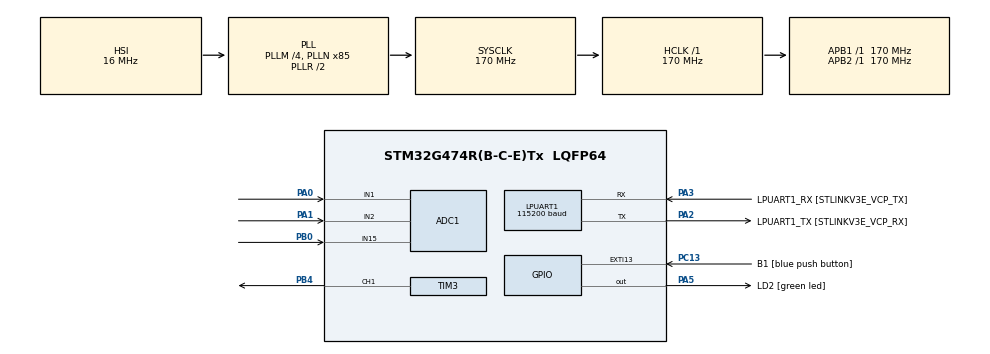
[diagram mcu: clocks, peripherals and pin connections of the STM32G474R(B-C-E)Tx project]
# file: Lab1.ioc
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ADC1.Channel-0\#ChannelRegularConversion=ADC_CHANNEL_1
ADC1.Channel-1\#ChannelRegularConversion=ADC_CHANNEL_2
ADC1.Channel-2\#ChannelRegularConversion=ADC_CHANNEL_15
ADC1.ContinuousConvMode=ENABLE
ADC1.DMAContinuousRequests=ENABLE
ADC1.ExternalTrigConv=ADC_EXTERNALTRIG_T1_TRGO
ADC1.NbrOfConversion=3
ADC1.NbrOfConversionFlag=1
ADC1.OffsetNumber-0\#ChannelRegularConversion=ADC_OFFSET_NONE
ADC1.OffsetNumber-1\#ChannelRegularConversion=ADC_OFFSET_NONE
ADC1.OffsetNumber-2\#ChannelRegularConversion=ADC_OFFSET_NONE
ADC1.Rank-0\#ChannelRegularConversion=1
ADC1.Rank-1\#ChannelRegularConversion=2
ADC1.Rank-2\#ChannelRegularConversion=3
ADC1.SamplingTime-0\#ChannelRegularConversion=ADC_SAMPLETIME_640CYCLES_5
ADC1.SamplingTime-1\#ChannelRegularConversion=ADC_SAMPLETIME_640CYCLES_5
ADC1.SamplingTime-2\#ChannelRegularConversion=ADC_SAMPLETIME_640CYCLES_5
ADC1.master=1
Dma.ADC1.0.Direction=DMA_PERIPH_TO_MEMORY
Dma.ADC1.0.EventEnable=DISABLE
Dma.ADC1.0.Instance=DMA1_Channel1
Dma.ADC1.0.MemDataAlignment=DMA_MDATAALIGN_HALFWORD
Dma.ADC1.0.MemInc=DMA_MINC_ENABLE
Dma.ADC1.0.Mode=DMA_CIRCULAR
Dma.ADC1.0.PeriphDataAlignment=DMA_PDATAALIGN_HALFWORD
Dma.ADC1.0.PeriphInc=DMA_PINC_DISABLE
Dma.ADC1.0.Polarity=HAL_DMAMUX_REQ_GEN_RISING
Dma.ADC1.0.Priority=DMA_PRIORITY_LOW
Dma.ADC1.0.RequestNumber=1
Dma.ADC1.0.SignalID=NONE
Dma.ADC1.0.SyncEnable=DISABLE
Dma.ADC1.0.SyncPolarity=HAL_DMAMUX_SYNC_NO_EVENT
Dma.ADC1.0.SyncRequestNumber=1
Dma.ADC1.0.SyncSignalID=NONE
Dma.Request0=ADC1
LPUART1.BaudRate=115200
LPUART1.WordLength=UART_WORDLENGTH_8B
Mcu.Family=STM32G4
Mcu.Name=STM32G474R(B-C-E)Tx
Mcu.Package=LQFP64
NVIC.ADC1_2_IRQn=true\:0\:0\:false\:false\:true\:true\:true\:true
NVIC.DMA1_Channel1_IRQn=true\:0\:0\:false\:false\:true\:false\:true\:true
NVIC.EXTI15_10_IRQn=true\:0\:0\:false\:false\:true\:true\:true\:true
NVIC.PriorityGroup=NVIC_PRIORITYGROUP_4
NVIC.TIM2_IRQn=true\:0\:0\:false\:false\:true\:true\:true\:true
PA0.Mode=IN1-Single-Ended
PA0.Signal=ADC1_IN1
PA1.Mode=IN2-Single-Ended
PA1.Signal=ADC1_IN2
PA13.GPIO_Label=T_SWDIO
PA13.Mode=Serial_Wire
PA13.Signal=SYS_JTMS-SWDIO
PA14.GPIO_Label=T_SWCLK
PA14.Mode=Serial_Wire
PA14.Signal=SYS_JTCK-SWCLK
PA2.GPIO_Label=LPUART1_TX [STLINKV3E_VCP_RX]
PA2.Mode=Asynchronous
PA2.Signal=LPUART1_TX
PA3.GPIO_Label=LPUART1_RX [STLINKV3E_VCP_TX]
PA3.Mode=Asynchronous
PA3.Signal=LPUART1_RX
PA5.GPIO_Label=LD2 [green led]
PA5.Signal=GPIO_Output
PB0.Mode=IN15-Single-Ended
PB0.Signal=ADC1_IN15
PB3.GPIO_Label=T_SWO
PB3.Signal=SYS_JTDO-SWO
PB4.Signal=S_TIM3_CH1
PC13.GPIO_Label=B1 [blue push button]
PC13.Signal=GPXTI13
PC14-OSC32_IN.Mode=LSE-External-Oscillator
PC14-OSC32_IN.Signal=RCC_OSC32_IN
PC15-OSC32_OUT.Mode=LSE-External-Oscillator
PC15-OSC32_OUT.Signal=RCC_OSC32_OUT
PF0-OSC_IN.Mode=HSE-External-Oscillator
PF0-OSC_IN.Signal=RCC_OSC_IN
PF1-OSC_OUT.Mode=HSE-External-Oscillator
PF1-OSC_OUT.Signal=RCC_OSC_OUT
ProjectManager.HeapSize=0x200
ProjectManager.StackSize=0x400
ProjectManager.TargetToolchain=STM32CubeIDE
RCC.ADC12Freq_Value=170000000
RCC.ADC345Freq_Value=170000000
RCC.AHBFreq_Value=170000000
RCC.APB1Freq_Value=170000000
RCC.APB1TimFreq_Value=170000000
RCC.APB2Freq_Value=170000000
RCC.APB2TimFreq_Value=170000000
RCC.CortexFreq_Value=170000000
RCC.EXTERNAL_CLOCK_VALUE=12288000
RCC.HCLKFreq_Value=170000000
RCC.HSE_VALUE=24000000
RCC.HSI48_VALUE=48000000
RCC.HSI_VALUE=16000000
RCC.PLLM=RCC_PLLM_DIV4
RCC.PLLN=85
RCC.RTCClockSelection=RCC_RTCCLKSOURCE_LSE
RCC.SYSCLKFreq_VALUE=170000000
RCC.SYSCLKSource=RCC_SYSCLKSOURCE_PLLCLK
RCC.USBFreq_Value=170000000
RCC.VCOOutputFreq_Value=340000000
SH.S_TIM3_CH1.0=TIM3_CH1,PWM Generation1 CH1
TIM1.PeriodNoDither=19999
TIM1.Prescaler=16999
TIM1.TIM_MasterOutputTrigger=TIM_TRGO_UPDATE
TIM1.TIM_MasterOutputTrigger2=TIM_TRGO2_UPDATE
TIM2.Prescaler=99
TIM2.TIM_MasterOutputTrigger=TIM_TRGO_UPDATE
TIM3.Channel-PWM\ Generation1\ CH1=TIM_CHANNEL_1
TIM3.PeriodNoDither=19999
TIM3.Prescaler=169
TIM3.PulseNoDither_1=2000
VP_SYS_VS_DBSignals.Mode=DisableDeadBatterySignals
VP_TIM1_VS_ClockSourceINT.Mode=Internal
VP_TIM2_VS_ClockSourceINT.Mode=Internal
VP_TIM3_VS_ClockSourceINT.Mode=Internal
board=NUCLEO-G474RE

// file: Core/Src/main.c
/* USER CODE BEGIN Header */
/**
  ******************************************************************************
  * @file           : main.c
  * @brief          : Main program body
  ******************************************************************************
  * @attention
  *
  * Copyright (c) 2024 STMicroelectronics.
  * All rights reserved.
  *
  * This software is licensed under terms that can be found in the LICENSE file
  * in the root directory of this software component.
  * If no LICENSE file comes with this software, it is provided AS-IS.
  *
  ******************************************************************************
  */
/* USER CODE END Header */
#include "main.h"

ADC_HandleTypeDef hadc1;
DMA_HandleTypeDef hdma_adc1;

UART_HandleTypeDef hlpuart1;

TIM_HandleTypeDef htim1;
TIM_HandleTypeDef htim2;
TIM_HandleTypeDef htim3;

/* USER CODE BEGIN PV */
uint16_t ADC_RawRead[300]={0};
uint16_t pot1_sum = 0;
uint16_t pot1_avg = 0;
uint16_t pot2_sum = 0;
uint16_t pot2_avg = 0;
uint16_t pot3_sum = 0;
uint16_t pot3_avg = 0;
uint16_t x1;
uint16_t x2;

/* USER CODE END PV */

void SystemClock_Config(void);
static void MX_GPIO_Init(void);
static void MX_DMA_Init(void);
static void MX_LPUART1_UART_Init(void);
static void MX_ADC1_Init(void);
static void MX_TIM1_Init(void);
static void MX_TIM3_Init(void);
static void MX_TIM2_Init(void);
/* USER CODE BEGIN PFP */
void ADCtoPot();
void Servo();

/* USER CODE END PFP */

int main(void)
{

  /* MCU Configuration--------------------------------------------------------*/

  /* Reset of all peripherals, Initializes the Flash interface and the Systick. */
  HAL_Init();

  /* Configure the system clock */
  SystemClock_Config();

  /* Initialize all configured peripherals */
  MX_GPIO_Init();
  MX_DMA_Init();
  MX_LPUART1_UART_Init();
  MX_ADC1_Init();
  MX_TIM1_Init();
  MX_TIM3_Init();
  MX_TIM2_Init();
  /* USER CODE BEGIN 2 */
  HAL_ADCEx_Calibration_Start(&hadc1, ADC_SINGLE_ENDED);
  HAL_ADC_Start_DMA(&hadc1, ADC_RawRead, 300);
  HAL_TIM_Base_Start(&htim1);
  HAL_TIM_Base_Start(&htim3);
  HAL_TIM_PWM_Start(&htim3, TIM_CHANNEL_1);
  //HAL_TIM_Base_Start_IT(&htim2);

  /* USER CODE END 2 */

  /* Infinite loop */
  while (1)
  {

    /* USER CODE BEGIN 3 */
	  ADCtoPot();
	  Servo();

  }
  /* USER CODE END 3 */
}

void SystemClock_Config(void)
{
  RCC_OscInitTypeDef RCC_OscInitStruct = {0};
  RCC_ClkInitTypeDef RCC_ClkInitStruct = {0};

  /** Configure the main internal regulator output voltage
  */
  HAL_PWREx_ControlVoltageScaling(PWR_REGULATOR_VOLTAGE_SCALE1_BOOST);

  /** Initializes the RCC Oscillators according to the specified parameters
  * in the RCC_OscInitTypeDef structure.
  */
  RCC_OscInitStruct.OscillatorType = RCC_OSCILLATORTYPE_HSI;
  RCC_OscInitStruct.HSIState = RCC_HSI_ON;
  RCC_OscInitStruct.HSICalibrationValue = RCC_HSICALIBRATION_DEFAULT;
  RCC_OscInitStruct.PLL.PLLState = RCC_PLL_ON;
  RCC_OscInitStruct.PLL.PLLSource = RCC_PLLSOURCE_HSI;
  RCC_OscInitStruct.PLL.PLLM = RCC_PLLM_DIV4;
  RCC_OscInitStruct.PLL.PLLN = 85;
  RCC_OscInitStruct.PLL.PLLP = RCC_PLLP_DIV2;
  RCC_OscInitStruct.PLL.PLLQ = RCC_PLLQ_DIV2;
  RCC_OscInitStruct.PLL.PLLR = RCC_PLLR_DIV2;
  if (HAL_RCC_OscConfig(&RCC_OscInitStruct) != HAL_OK)
  {
    Error_Handler();
  }

  /** Initializes the CPU, AHB and APB buses clocks
  */
  RCC_ClkInitStruct.ClockType = RCC_CLOCKTYPE_HCLK|RCC_CLOCKTYPE_SYSCLK
                              |RCC_CLOCKTYPE_PCLK1|RCC_CLOCKTYPE_PCLK2;
  RCC_ClkInitStruct.SYSCLKSource = RCC_SYSCLKSOURCE_PLLCLK;
  RCC_ClkInitStruct.AHBCLKDivider = RCC_SYSCLK_DIV1;
  RCC_ClkInitStruct.APB1CLKDivider = RCC_HCLK_DIV1;
  RCC_ClkInitStruct.APB2CLKDivider = RCC_HCLK_DIV1;

  if (HAL_RCC_ClockConfig(&RCC_ClkInitStruct, FLASH_LATENCY_4) != HAL_OK)
  {
    Error_Handler();
  }
}

static void MX_ADC1_Init(void)
{

  ADC_MultiModeTypeDef multimode = {0};
  ADC_ChannelConfTypeDef sConfig = {0};

  /** Common config
  */
  hadc1.Instance = ADC1;
  hadc1.Init.ClockPrescaler = ADC_CLOCK_SYNC_PCLK_DIV4;
  hadc1.Init.Resolution = ADC_RESOLUTION_12B;
  hadc1.Init.DataAlign = ADC_DATAALIGN_RIGHT;
  hadc1.Init.GainCompensation = 0;
  hadc1.Init.ScanConvMode = ADC_SCAN_ENABLE;
  hadc1.Init.EOCSelection = ADC_EOC_SINGLE_CONV;
  hadc1.Init.LowPowerAutoWait = DISABLE;
  hadc1.Init.ContinuousConvMode = ENABLE;
  hadc1.Init.NbrOfConversion = 3;
  hadc1.Init.DiscontinuousConvMode = DISABLE;
  hadc1.Init.ExternalTrigConv = ADC_EXTERNALTRIG_T1_TRGO;
  hadc1.Init.ExternalTrigConvEdge = ADC_EXTERNALTRIGCONVEDGE_RISING;
  hadc1.Init.DMAContinuousRequests = ENABLE;
  hadc1.Init.Overrun = ADC_OVR_DATA_PRESERVED;
  hadc1.Init.OversamplingMode = DISABLE;
  if (HAL_ADC_Init(&hadc1) != HAL_OK)
  {
    Error_Handler();
  }

  /** Configure the ADC multi-mode
  */
  multimode.Mode = ADC_MODE_INDEPENDENT;
  if (HAL_ADCEx_MultiModeConfigChannel(&hadc1, &multimode) != HAL_OK)
  {
    Error_Handler();
  }

  /** Configure Regular Channel
  */
  sConfig.Channel = ADC_CHANNEL_1;
  sConfig.Rank = ADC_REGULAR_RANK_1;
  sConfig.SamplingTime = ADC_SAMPLETIME_640CYCLES_5;
  sConfig.SingleDiff = ADC_SINGLE_ENDED;
  sConfig.OffsetNumber = ADC_OFFSET_NONE;
  sConfig.Offset = 0;
  if (HAL_ADC_ConfigChannel(&hadc1, &sConfig) != HAL_OK)
  {
    Error_Handler();
  }

  /** Configure Regular Channel
  */
  sConfig.Channel = ADC_CHANNEL_2;
  sConfig.Rank = ADC_REGULAR_RANK_2;
  if (HAL_ADC_ConfigChannel(&hadc1, &sConfig) != HAL_OK)
  {
    Error_Handler();
  }

  /** Configure Regular Channel
  */
  sConfig.Channel = ADC_CHANNEL_15;
  sConfig.Rank = ADC_REGULAR_RANK_3;
  if (HAL_ADC_ConfigChannel(&hadc1, &sConfig) != HAL_OK)
  {
    Error_Handler();
  }

}

static void MX_LPUART1_UART_Init(void)
{

  hlpuart1.Instance = LPUART1;
  hlpuart1.Init.BaudRate = 115200;
  hlpuart1.Init.WordLength = UART_WORDLENGTH_8B;
  hlpuart1.Init.StopBits = UART_STOPBITS_1;
  hlpuart1.Init.Parity = UART_PARITY_NONE;
  hlpuart1.Init.Mode = UART_MODE_TX_RX;
  hlpuart1.Init.HwFlowCtl = UART_HWCONTROL_NONE;
  hlpuart1.Init.OneBitSampling = UART_ONE_BIT_SAMPLE_DISABLE;
  hlpuart1.Init.ClockPrescaler = UART_PRESCALER_DIV1;
  hlpuart1.AdvancedInit.AdvFeatureInit = UART_ADVFEATURE_NO_INIT;
  if (HAL_UART_Init(&hlpuart1) != HAL_OK)
  {
    Error_Handler();
  }
  if (HAL_UARTEx_SetTxFifoThreshold(&hlpuart1, UART_TXFIFO_THRESHOLD_1_8) != HAL_OK)
  {
    Error_Handler();
  }
  if (HAL_UARTEx_SetRxFifoThreshold(&hlpuart1, UART_RXFIFO_THRESHOLD_1_8) != HAL_OK)
  {
    Error_Handler();
  }
  if (HAL_UARTEx_DisableFifoMode(&hlpuart1) != HAL_OK)
  {
    Error_Handler();
  }

}

static void MX_TIM1_Init(void)
{

  TIM_ClockConfigTypeDef sClockSourceConfig = {0};
  TIM_MasterConfigTypeDef sMasterConfig = {0};

  htim1.Instance = TIM1;
  htim1.Init.Prescaler = 16999;
  htim1.Init.CounterMode = TIM_COUNTERMODE_UP;
  htim1.Init.Period = 19999;
  htim1.Init.ClockDivision = TIM_CLOCKDIVISION_DIV1;
  htim1.Init.RepetitionCounter = 0;
  htim1.Init.AutoReloadPreload = TIM_AUTORELOAD_PRELOAD_DISABLE;
  if (HAL_TIM_Base_Init(&htim1) != HAL_OK)
  {
    Error_Handler();
  }
  sClockSourceConfig.ClockSource = TIM_CLOCKSOURCE_INTERNAL;
  if (HAL_TIM_ConfigClockSource(&htim1, &sClockSourceConfig) != HAL_OK)
  {
    Error_Handler();
  }
  sMasterConfig.MasterOutputTrigger = TIM_TRGO_UPDATE;
  sMasterConfig.MasterOutputTrigger2 = TIM_TRGO2_UPDATE;
  sMasterConfig.MasterSlaveMode = TIM_MASTERSLAVEMODE_DISABLE;
  if (HAL_TIMEx_MasterConfigSynchronization(&htim1, &sMasterConfig) != HAL_OK)
  {
    Error_Handler();
  }

}

static void MX_TIM2_Init(void)
{

  TIM_ClockConfigTypeDef sClockSourceConfig = {0};
  TIM_MasterConfigTypeDef sMasterConfig = {0};

  htim2.Instance = TIM2;
  htim2.Init.Prescaler = 99;
  htim2.Init.CounterMode = TIM_COUNTERMODE_UP;
  htim2.Init.Period = 4.294967295E9;
  htim2.Init.ClockDivision = TIM_CLOCKDIVISION_DIV1;
  htim2.Init.AutoReloadPreload = TIM_AUTORELOAD_PRELOAD_DISABLE;
  if (HAL_TIM_Base_Init(&htim2) != HAL_OK)
  {
    Error_Handler();
  }
  sClockSourceConfig.ClockSource = TIM_CLOCKSOURCE_INTERNAL;
  if (HAL_TIM_ConfigClockSource(&htim2, &sClockSourceConfig) != HAL_OK)
  {
    Error_Handler();
  }
  sMasterConfig.MasterOutputTrigger = TIM_TRGO_UPDATE;
  sMasterConfig.MasterSlaveMode = TIM_MASTERSLAVEMODE_DISABLE;
  if (HAL_TIMEx_MasterConfigSynchronization(&htim2, &sMasterConfig) != HAL_OK)
  {
    Error_Handler();
  }

}

static void MX_TIM3_Init(void)
{

  TIM_ClockConfigTypeDef sClockSourceConfig = {0};
  TIM_MasterConfigTypeDef sMasterConfig = {0};
  TIM_OC_InitTypeDef sConfigOC = {0};

  htim3.Instance = TIM3;
  htim3.Init.Prescaler = 169;
  htim3.Init.CounterMode = TIM_COUNTERMODE_UP;
  htim3.Init.Period = 19999;
  htim3.Init.ClockDivision = TIM_CLOCKDIVISION_DIV1;
  htim3.Init.AutoReloadPreload = TIM_AUTORELOAD_PRELOAD_DISABLE;
  if (HAL_TIM_Base_Init(&htim3) != HAL_OK)
  {
    Error_Handler();
  }
  sClockSourceConfig.ClockSource = TIM_CLOCKSOURCE_INTERNAL;
  if (HAL_TIM_ConfigClockSource(&htim3, &sClockSourceConfig) != HAL_OK)
  {
    Error_Handler();
  }
  if (HAL_TIM_PWM_Init(&htim3) != HAL_OK)
  {
    Error_Handler();
  }
  sMasterConfig.MasterOutputTrigger = TIM_TRGO_RESET;
  sMasterConfig.MasterSlaveMode = TIM_MASTERSLAVEMODE_DISABLE;
  if (HAL_TIMEx_MasterConfigSynchronization(&htim3, &sMasterConfig) != HAL_OK)
  {
    Error_Handler();
  }
  sConfigOC.OCMode = TIM_OCMODE_PWM1;
  sConfigOC.Pulse = 2000;
  sConfigOC.OCPolarity = TIM_OCPOLARITY_HIGH;
  sConfigOC.OCFastMode = TIM_OCFAST_DISABLE;
  if (HAL_TIM_PWM_ConfigChannel(&htim3, &sConfigOC, TIM_CHANNEL_1) != HAL_OK)
  {
    Error_Handler();
  }
  HAL_TIM_MspPostInit(&htim3);

}

static void MX_DMA_Init(void)
{

  /* DMA controller clock enable */
  __HAL_RCC_DMAMUX1_CLK_ENABLE();
  __HAL_RCC_DMA1_CLK_ENABLE();

  /* DMA interrupt init */
  /* DMA1_Channel1_IRQn interrupt configuration */
  HAL_NVIC_SetPriority(DMA1_Channel1_IRQn, 0, 0);
  HAL_NVIC_EnableIRQ(DMA1_Channel1_IRQn);

}

static void MX_GPIO_Init(void)
{
  GPIO_InitTypeDef GPIO_InitStruct = {0};

  /* GPIO Ports Clock Enable */
  __HAL_RCC_GPIOC_CLK_ENABLE();
  __HAL_RCC_GPIOF_CLK_ENABLE();
  __HAL_RCC_GPIOA_CLK_ENABLE();
  __HAL_RCC_GPIOB_CLK_ENABLE();

  /*Configure GPIO pin Output Level */
  HAL_GPIO_WritePin(LD2_GPIO_Port, LD2_Pin, GPIO_PIN_RESET);

  /*Configure GPIO pin : B1_Pin */
  GPIO_InitStruct.Pin = B1_Pin;
  GPIO_InitStruct.Mode = GPIO_MODE_IT_RISING;
  GPIO_InitStruct.Pull = GPIO_NOPULL;
  HAL_GPIO_Init(B1_GPIO_Port, &GPIO_InitStruct);

  /*Configure GPIO pin : LD2_Pin */
  GPIO_InitStruct.Pin = LD2_Pin;
  GPIO_InitStruct.Mode = GPIO_MODE_OUTPUT_PP;
  GPIO_InitStruct.Pull = GPIO_NOPULL;
  GPIO_InitStruct.Speed = GPIO_SPEED_FREQ_LOW;
  HAL_GPIO_Init(LD2_GPIO_Port, &GPIO_InitStruct);

  /* EXTI interrupt init*/
  HAL_NVIC_SetPriority(EXTI15_10_IRQn, 0, 0);
  HAL_NVIC_EnableIRQ(EXTI15_10_IRQn);

}

/* USER CODE BEGIN 4 */
void ADCtoPot()
{
	register int i;
	for (i = 0; i < 300; i++)
	{
		 if (i % 3 == 0)
		 {
			 pot1_sum += ADC_RawRead[i];
		 }
		 else if (i % 3 == 1)
		 {
			 pot2_sum += ADC_RawRead[i];
		 }
		 else if (i % 3 == 2)
		 {
			 pot3_sum += ADC_RawRead[i];
		 }
	}

	pot1_avg = ADC_RawRead[0];  //pot1_sum/100;
	pot2_avg = ADC_RawRead[1];  //pot2_sum/100;
	pot3_avg = ADC_RawRead[2];  //pot3_sum/100;
}

void Servo()
{
	if(pot1_avg >= 0 && pot1_avg <= 1024)
	{
		__HAL_TIM_SET_COMPARE(&htim3, TIM_CHANNEL_1, 500);
	}
	else if(pot1_avg >= 1025 && pot1_avg <= 2048)
	{
		x1 = (pot2_avg/4095)*2000+500;
		__HAL_TIM_SET_COMPARE(&htim3, TIM_CHANNEL_1, x1);
	}
	else if(pot1_avg >= 2049 && pot1_avg <= 3072)
	{
		x2 = (pot3_avg/4095)*2000+500;
		__HAL_TIM_SET_COMPARE(&htim3, TIM_CHANNEL_1, x2);
	}
	else if(pot1_avg >= 3073 && pot1_avg <= 4095)
	{
		__HAL_TIM_SET_COMPARE(&htim3, TIM_CHANNEL_1, 2500);
	}

}

//void HAL_TIM_PeriodElapsedCallback(TIM_HandleTypeDef*htim)
//{
//	if(htim== &htim2)
//	{ }
//}

/* USER CODE END 4 */

void Error_Handler(void)
{
  __disable_irq();
  while (1)
  {
  }
}
